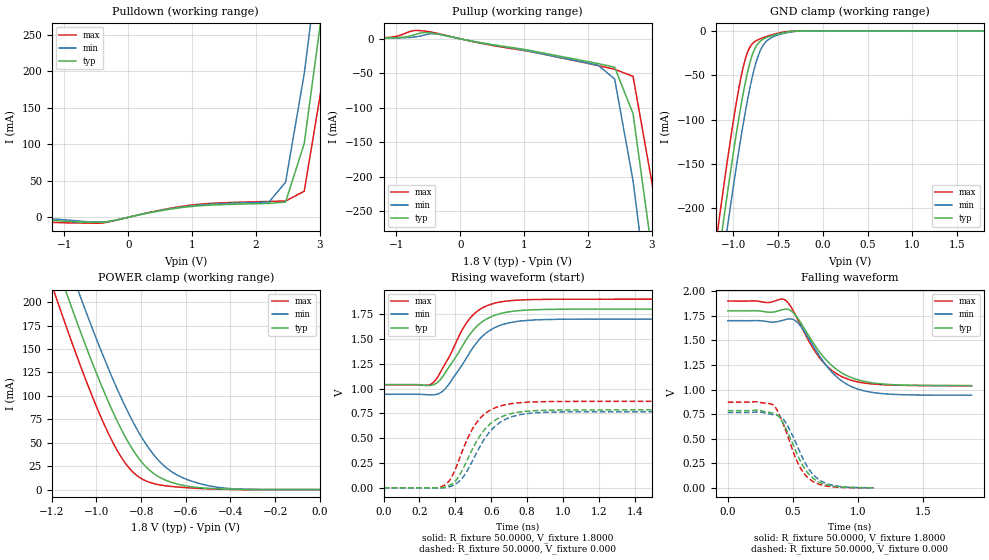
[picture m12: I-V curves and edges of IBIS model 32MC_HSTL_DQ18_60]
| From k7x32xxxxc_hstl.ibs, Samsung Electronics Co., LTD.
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|   Model 32MC_HSTL_DQ18_60
[Model]   32MC_HSTL_DQ18_60
Model_type   I/O
Polarity   Non-Inverting
Enable   Active-High
Vinl = 0.7000V
Vinh = 1.1000V
Vmeas = 0.9000V
Cref =  0.000F
Rref =50.0000
Vref = 0.9000V
C_comp   0.8590pF   0.8410pF   0.8720pF
[Model Spec]
|   Typ   Min   Max
Vinl 0.70   0.65   0.75 |VREF - 0.2V AC spec for timing simulation
Vinh 1.10   1.05   1.15 |VREF + 0.2V AC spec for timing simulation
|[Model Spec]
|   Typ   Min   Max
|Vinl 0.80   0.75   0.85 |VREF - 0.1V DC spec for noise measurement
|Vinh 1.00   0.95   1.05 |VREF + 0.1V DC spec for noise measurement
Vmeas  0.9000V   0.8500V   0.9500V |VDDQ/2
[Temperature Range]   55.0000   0.1100k   0.000
[Voltage Range]   1.8000V   1.7000V   1.9000V
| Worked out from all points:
|   slope of the pulldown table from 0 to 0.27 V, typ, clamps not added: 53.1 ohm
|   slope of the pullup table from 0 to 0.27 V, typ, clamps not added: 55.5 ohm
|   GND clamp passes 1 mA (typ) near -0.38 V on its own axis
|   POWER clamp passes 1 mA (typ) near -0.47 V on its own axis
|   rising waveform, R_fixture 50.0000, V_fixture 1.8000: 20-80 % time 178ps typ, 182ps min, 161ps max; typ from 1.04 V to 1.8 V
|   rising waveform, R_fixture 50.0000, V_fixture 0.000: 20-80 % time 152ps typ, 158ps min, 140ps max; typ from 0 V to 0.785 V
|   falling waveform, R_fixture 50.0000, V_fixture 1.8000: 20-80 % time 275ps typ, 261ps min, 252ps max; typ from 1.8 V to 1.04 V
|   falling waveform, R_fixture 50.0000, V_fixture 0.000: 20-80 % time 175ps typ, 177ps min, 160ps max; typ from 0.785 V to 0 V
[Pulldown]
| voltage   I(typ)   I(min/slow/weak)   I(max/fast/strong)
-1.8V     -1.2mA     -800uA     -3.3mA
-1.086V   -4.8mA     -2.9mA     -7.3mA
-430mV    -6.844mA   -6.549mA   -7.988mA
457mV     8.214mA    8.507mA    9.029mA
897mV     13.96mA    14.68mA    15.65mA
1.405V    17.11mA    18.38mA    19.57mA
2.202V    18.97mA    20.84mA    21.72mA
2.463V    20.9mA     47.96mA    22.25mA
2.755V    101.1mA    196.8mA    35.66mA
3.082V    314mA      422.4mA    208.1mA
3.447V    585.8mA    696.1mA    476.4mA
3.6V      703.9mA    814.2mA    594.4mA
[Pullup]
| voltage   I(typ)   I(min/slow/weak)   I(max/fast/strong)
-1.8V     500uA      400uA      600uA
-1.084V   1.3mA      900uA      2.3mA
-723mV    5.6mA      2.53mA     11.98mA
-590mV    8.945mA    4.73mA     11.51mA
-434mV    8.139mA    7.435mA    9.388mA
-320mV    6.276mA    6.318mA    7.056mA
2.161V    -36.01mA   -38.54mA   -38.94mA
2.418V    -41.25mA   -58.38mA   -44.2mA
2.706V    -108.6mA   -206.1mA   -54.54mA
3.028V    -326.7mA   -440.2mA   -222.5mA
3.388V    -606.3mA   -722.4mA   -497.3mA
3.6V      -776.8mA   -892.8mA   -666.9mA
[GND_clamp]
| voltage   I(typ)   I(min/slow/weak)   I(max/fast/strong)
-1.8V     -752.4mA   -787mA     -719.7mA
-1.171V   -257.8mA   -296.3mA   -220.7mA
-1.128V   -226.3mA   -264.8mA   -189.2mA
-1.107V   -211.1mA   -249.6mA   -174mA
-1.066V   -181.9mA   -220.4mA   -145.1mA
-970mV    -117.3mA   -154.8mA   -82.45mA
-900mV    -75.38mA   -110.6mA   -45.01mA
-834mV    -43.05mA   -73.43mA   -22.04mA
-744mV    -17.03mA   -34.53mA   -11.03mA
-614mV    -6.926mA   -10.29mA   -5.892mA
-342mV    -623.3uA   -1.089mA   -287.3uA
1.8V      211.5nA    3.563uA    15nA
[POWER_clamp]
| voltage   I(typ)   I(min/slow/weak)   I(max/fast/strong)
-1.8V     703.3mA    736.2mA    671.9mA
-1.186V   245.2mA    282.1mA    208.9mA
-1.125V   203.7mA    240.8mA    167.2mA
-1.068V   166.3mA    203.4mA    129.9mA
-961mV    101.7mA    137.6mA    67.31mA
-912mV    75.62mA    110mA      43.88mA
-865mV    53.72mA    85.8mA     26.38mA
-778mV    24.27mA    48.5mA     9.249mA
-687mV    9.748mA    23.31mA    3.938mA
-596mV    3.825mA    10.91mA    2.045mA
-455mV    846.1uA    2.416mA    438.2uA
0V        211.5nA    954nA      17.71nA
[Ramp]
| variable   typ   min(slow/weak)   max(fast/strong)
dV/dt_r   0.4708/0.1520n   0.4598/0.1576n   0.5225/0.1396n
dV/dt_f   0.4566/0.2747n   0.4548/0.2606n   0.5166/0.2524n
R_load = 50.0000
[Rising Waveform]
R_fixture = 50.0000
V_fixture = 1.8000
V_fixture_min = 1.7000
V_fixture_max = 1.9000
L_fixture = 0.000H
C_fixture = 0.000F
| time   V(typ)   V(min)   V(max)
0s        1.039V     942mV      1.039V
274ps     1.036V     936.2mV    1.056V
314ps     1.085V     954.7mV    1.155V
349ps     1.174V     1.008V     1.267V
441ps     1.433V     1.246V     1.6V
488ps     1.561V     1.383V     1.721V
575ps     1.701V     1.563V     1.833V
678ps     1.765V     1.652V     1.879V
1.082ns   1.799V     1.699V     1.899V
3.999ns   1.8V       1.7V       1.9V
[Rising Waveform]
R_fixture = 50.0000
V_fixture = 0.000
V_fixture_min = 0.000
V_fixture_max = 0.000
L_fixture = 0.000H
C_fixture = 0.000F
| time   V(typ)   V(min)   V(max)
0s        4.408uV    28.06uV    0V
342ps     7.816mV    2.766mV    30.18mV
385ps     45.31mV    23.32mV    127.9mV
435ps     164.8mV    90.73mV    351.6mV
482ps     341.4mV    224.3mV    548.5mV
531ps     506.2mV    396.2mV    685.6mV
623ps     682.5mV    622.1mV    807mV
730ps     754.8mV    723.5mV    851.6mV
1.044ns   784mV      765.4mV    870.2mV
3.999ns   784.7mV    766.4mV    870.9mV
[Falling Waveform]
R_fixture = 50.0000
V_fixture = 1.8000
V_fixture_min = 1.7000
V_fixture_max = 1.9000
L_fixture = 0.000H
C_fixture = 0.000F
| time   V(typ)   V(min)   V(max)
0s        1.8V       1.7V       1.9V
330ps     1.785V     1.686V     1.887V
439ps     1.816V     1.709V     1.911V
489ps     1.798V     1.717V     1.834V
545ps     1.711V     1.669V     1.694V
720ps     1.357V     1.312V     1.299V
817ps     1.225V     1.154V     1.178V
927ps     1.134V     1.045V     1.104V
1.193ns   1.056V     957.9mV    1.049V
1.874ns   1.039V     942.1mV    1.039V
[Falling Waveform]
R_fixture = 50.0000
V_fixture = 0.000
V_fixture_min = 0.000
V_fixture_max = 0.000
L_fixture = 0.000H
C_fixture = 0.000F
| time   V(typ)   V(min)   V(max)
0s        784.7mV    766.4mV    870.9mV
222ps     790.7mV    771.5mV    875.5mV
352ps     759.6mV    744mV      839.3mV
390ps     729.7mV    734mV      761.2mV
432ps     641.1mV    688.5mV    630.1mV
548ps     299.5mV    384.4mV    227.8mV
606ps     167.5mV    227.2mV    116.6mV
659ps     94.84mV    131.6mV    62.03mV
804ps     19.13mV    27.31mV    10.76mV
1.121ns   499.6uV    835.2uV    161.8uV
